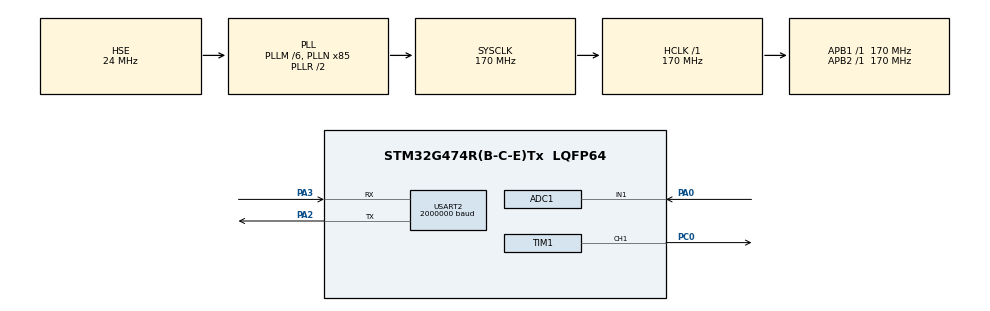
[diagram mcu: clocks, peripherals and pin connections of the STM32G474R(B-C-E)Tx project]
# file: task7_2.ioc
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ADC1.Channel-0\#ChannelRegularConversion=ADC_CHANNEL_1
ADC1.ClockPrescaler=ADC_CLOCK_ASYNC_DIV1
ADC1.DMAContinuousRequests=ENABLE
ADC1.ExternalTrigConv=ADC_EXTERNALTRIG_T3_TRGO
ADC1.NbrOfConversionFlag=1
ADC1.OffsetNumber-0\#ChannelRegularConversion=ADC_OFFSET_NONE
ADC1.Rank-0\#ChannelRegularConversion=1
ADC1.SamplingTime-0\#ChannelRegularConversion=ADC_SAMPLETIME_2CYCLES_5
ADC1.master=1
Dma.ADC1.0.Direction=DMA_PERIPH_TO_MEMORY
Dma.ADC1.0.EventEnable=DISABLE
Dma.ADC1.0.Instance=DMA1_Channel1
Dma.ADC1.0.MemDataAlignment=DMA_MDATAALIGN_HALFWORD
Dma.ADC1.0.MemInc=DMA_MINC_ENABLE
Dma.ADC1.0.Mode=DMA_CIRCULAR
Dma.ADC1.0.PeriphDataAlignment=DMA_PDATAALIGN_HALFWORD
Dma.ADC1.0.PeriphInc=DMA_PINC_DISABLE
Dma.ADC1.0.Polarity=HAL_DMAMUX_REQ_GEN_RISING
Dma.ADC1.0.Priority=DMA_PRIORITY_LOW
Dma.ADC1.0.RequestNumber=1
Dma.ADC1.0.SignalID=NONE
Dma.ADC1.0.SyncEnable=DISABLE
Dma.ADC1.0.SyncPolarity=HAL_DMAMUX_SYNC_NO_EVENT
Dma.ADC1.0.SyncRequestNumber=1
Dma.ADC1.0.SyncSignalID=NONE
Dma.Request0=ADC1
Mcu.Family=STM32G4
Mcu.Name=STM32G474R(B-C-E)Tx
Mcu.Package=LQFP64
NVIC.DMA1_Channel1_IRQn=true\:0\:0\:false\:false\:true\:false\:true\:true
NVIC.PriorityGroup=NVIC_PRIORITYGROUP_4
NVIC.TIM2_IRQn=true\:0\:0\:false\:false\:true\:true\:true\:true
PA0.Mode=IN1-Single-Ended
PA0.Signal=ADC1_IN1
PA13.Mode=Serial_Wire
PA13.Signal=SYS_JTMS-SWDIO
PA14.Mode=Serial_Wire
PA14.Signal=SYS_JTCK-SWCLK
PA2.GPIO_PuPd=GPIO_PULLUP
PA2.Mode=Asynchronous
PA2.Signal=USART2_TX
PA3.GPIO_PuPd=GPIO_PULLUP
PA3.Mode=Asynchronous
PA3.Signal=USART2_RX
PC0.Signal=S_TIM1_CH1
PF0-OSC_IN.Mode=HSE-External-Oscillator
PF0-OSC_IN.Signal=RCC_OSC_IN
PF1-OSC_OUT.Mode=HSE-External-Oscillator
PF1-OSC_OUT.Signal=RCC_OSC_OUT
ProjectManager.HeapSize=0x200
ProjectManager.StackSize=0x400
ProjectManager.TargetToolchain=STM32CubeIDE
RCC.ADC12CLockSelection=RCC_ADC12CLKSOURCE_PLL
RCC.ADC12Freq_Value=34000000
RCC.ADC345Freq_Value=170000000
RCC.AHBFreq_Value=170000000
RCC.APB1Freq_Value=170000000
RCC.APB1TimFreq_Value=170000000
RCC.APB2Freq_Value=170000000
RCC.APB2TimFreq_Value=170000000
RCC.CortexFreq_Value=170000000
RCC.EXTERNAL_CLOCK_VALUE=12288000
RCC.HCLKFreq_Value=170000000
RCC.HSE_VALUE=24000000
RCC.HSI48_VALUE=48000000
RCC.HSI_VALUE=16000000
RCC.LSE_VALUE=32768
RCC.PLLM=RCC_PLLM_DIV6
RCC.PLLN=85
RCC.PLLP=RCC_PLLP_DIV10
RCC.PLLSourceVirtual=RCC_PLLSOURCE_HSE
RCC.SYSCLKFreq_VALUE=170000000
RCC.SYSCLKSource=RCC_SYSCLKSOURCE_PLLCLK
RCC.USBFreq_Value=170000000
RCC.VCOOutputFreq_Value=340000000
SH.S_TIM1_CH1.0=TIM1_CH1,PWM Generation1 CH1
TIM1.Channel-PWM\ Generation1\ CH1=TIM_CHANNEL_1
TIM1.PeriodNoDither=999
TIM1.Prescaler=169
TIM1.PulseNoDither_1=999
TIM2.PeriodNoDither=9
TIM2.Prescaler=169
TIM3.PeriodNoDither=19
TIM3.Prescaler=169
TIM3.TIM_MasterOutputTrigger=TIM_TRGO_UPDATE
USART2.BaudRate=2000000
USART2.VirtualMode-Asynchronous=VM_ASYNC
VP_SYS_VS_DBSignals.Mode=DisableDeadBatterySignals
VP_TIM1_VS_ClockSourceINT.Mode=Internal
VP_TIM2_VS_ClockSourceINT.Mode=Internal
VP_TIM3_VS_ClockSourceINT.Mode=Internal
board=custom

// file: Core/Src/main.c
/* USER CODE BEGIN Header */
/**
  ******************************************************************************
  * @file           : main.c
  * @brief          : Main program body
  ******************************************************************************
  * @attention
  *
  * Copyright (c) 2024 STMicroelectronics.
  * All rights reserved.
  *
  * This software is licensed under terms that can be found in the LICENSE file
  * in the root directory of this software component.
  * If no LICENSE file comes with this software, it is provided AS-IS.
  *
  ******************************************************************************
  */
/* USER CODE END Header */
#include "main.h"

 ADC_HandleTypeDef hadc1;
DMA_HandleTypeDef hdma_adc1;

TIM_HandleTypeDef htim1;
TIM_HandleTypeDef htim2;
TIM_HandleTypeDef htim3;

UART_HandleTypeDef huart2;

/* USER CODE BEGIN PV */
uint16_t ADC1ConvertedData[LEN] = {0};
uint16_t count = 0;
/* USER CODE END PV */

void SystemClock_Config(void);
static void MX_GPIO_Init(void);
static void MX_DMA_Init(void);
static void MX_ADC1_Init(void);
static void MX_USART2_UART_Init(void);
static void MX_TIM3_Init(void);
static void MX_TIM1_Init(void);
static void MX_TIM2_Init(void);

int main(void)
{

  /* MCU Configuration--------------------------------------------------------*/

  /* Reset of all peripherals, Initializes the Flash interface and the Systick. */
  HAL_Init();

  /* Configure the system clock */
  SystemClock_Config();

  /* Initialize all configured peripherals */
  MX_GPIO_Init();
  MX_DMA_Init();
  MX_ADC1_Init();
  MX_USART2_UART_Init();
  MX_TIM3_Init();
  MX_TIM1_Init();
  MX_TIM2_Init();
  /* USER CODE BEGIN 2 */
  HAL_ADCEx_Calibration_Start(&hadc1, ADC_SINGLE_ENDED);
  HAL_ADC_Start_DMA(&hadc1, (uint32_t*)&ADC1ConvertedData, LEN);

  HAL_TIM_Base_Start(&htim3);
  HAL_TIM_Base_Start_IT(&htim2);
  HAL_TIM_Base_Start(&htim1);
  HAL_TIM_PWM_Start(&htim1, TIM_CHANNEL_1);
  /* USER CODE END 2 */

  /* Infinite loop */
  while (1)
  {

  }
}

void SystemClock_Config(void)
{
  RCC_OscInitTypeDef RCC_OscInitStruct = {0};
  RCC_ClkInitTypeDef RCC_ClkInitStruct = {0};

  /** Configure the main internal regulator output voltage
  */
  HAL_PWREx_ControlVoltageScaling(PWR_REGULATOR_VOLTAGE_SCALE1_BOOST);

  /** Initializes the RCC Oscillators according to the specified parameters
  * in the RCC_OscInitTypeDef structure.
  */
  RCC_OscInitStruct.OscillatorType = RCC_OSCILLATORTYPE_HSE;
  RCC_OscInitStruct.HSEState = RCC_HSE_ON;
  RCC_OscInitStruct.PLL.PLLState = RCC_PLL_ON;
  RCC_OscInitStruct.PLL.PLLSource = RCC_PLLSOURCE_HSE;
  RCC_OscInitStruct.PLL.PLLM = RCC_PLLM_DIV6;
  RCC_OscInitStruct.PLL.PLLN = 85;
  RCC_OscInitStruct.PLL.PLLP = RCC_PLLP_DIV10;
  RCC_OscInitStruct.PLL.PLLQ = RCC_PLLQ_DIV2;
  RCC_OscInitStruct.PLL.PLLR = RCC_PLLR_DIV2;
  if (HAL_RCC_OscConfig(&RCC_OscInitStruct) != HAL_OK)
  {
    Error_Handler();
  }

  /** Initializes the CPU, AHB and APB buses clocks
  */
  RCC_ClkInitStruct.ClockType = RCC_CLOCKTYPE_HCLK|RCC_CLOCKTYPE_SYSCLK
                              |RCC_CLOCKTYPE_PCLK1|RCC_CLOCKTYPE_PCLK2;
  RCC_ClkInitStruct.SYSCLKSource = RCC_SYSCLKSOURCE_PLLCLK;
  RCC_ClkInitStruct.AHBCLKDivider = RCC_SYSCLK_DIV1;
  RCC_ClkInitStruct.APB1CLKDivider = RCC_HCLK_DIV1;
  RCC_ClkInitStruct.APB2CLKDivider = RCC_HCLK_DIV1;

  if (HAL_RCC_ClockConfig(&RCC_ClkInitStruct, FLASH_LATENCY_4) != HAL_OK)
  {
    Error_Handler();
  }
}

static void MX_ADC1_Init(void)
{

  ADC_MultiModeTypeDef multimode = {0};
  ADC_ChannelConfTypeDef sConfig = {0};

  /** Common config
  */
  hadc1.Instance = ADC1;
  hadc1.Init.ClockPrescaler = ADC_CLOCK_ASYNC_DIV1;
  hadc1.Init.Resolution = ADC_RESOLUTION_12B;
  hadc1.Init.DataAlign = ADC_DATAALIGN_RIGHT;
  hadc1.Init.GainCompensation = 0;
  hadc1.Init.ScanConvMode = ADC_SCAN_DISABLE;
  hadc1.Init.EOCSelection = ADC_EOC_SINGLE_CONV;
  hadc1.Init.LowPowerAutoWait = DISABLE;
  hadc1.Init.ContinuousConvMode = DISABLE;
  hadc1.Init.NbrOfConversion = 1;
  hadc1.Init.DiscontinuousConvMode = DISABLE;
  hadc1.Init.ExternalTrigConv = ADC_EXTERNALTRIG_T3_TRGO;
  hadc1.Init.ExternalTrigConvEdge = ADC_EXTERNALTRIGCONVEDGE_RISING;
  hadc1.Init.DMAContinuousRequests = ENABLE;
  hadc1.Init.Overrun = ADC_OVR_DATA_PRESERVED;
  hadc1.Init.OversamplingMode = DISABLE;
  if (HAL_ADC_Init(&hadc1) != HAL_OK)
  {
    Error_Handler();
  }

  /** Configure the ADC multi-mode
  */
  multimode.Mode = ADC_MODE_INDEPENDENT;
  if (HAL_ADCEx_MultiModeConfigChannel(&hadc1, &multimode) != HAL_OK)
  {
    Error_Handler();
  }

  /** Configure Regular Channel
  */
  sConfig.Channel = ADC_CHANNEL_1;
  sConfig.Rank = ADC_REGULAR_RANK_1;
  sConfig.SamplingTime = ADC_SAMPLETIME_2CYCLES_5;
  sConfig.SingleDiff = ADC_SINGLE_ENDED;
  sConfig.OffsetNumber = ADC_OFFSET_NONE;
  sConfig.Offset = 0;
  if (HAL_ADC_ConfigChannel(&hadc1, &sConfig) != HAL_OK)
  {
    Error_Handler();
  }

}

static void MX_TIM1_Init(void)
{

  TIM_ClockConfigTypeDef sClockSourceConfig = {0};
  TIM_MasterConfigTypeDef sMasterConfig = {0};
  TIM_OC_InitTypeDef sConfigOC = {0};
  TIM_BreakDeadTimeConfigTypeDef sBreakDeadTimeConfig = {0};

  htim1.Instance = TIM1;
  htim1.Init.Prescaler = 169;
  htim1.Init.CounterMode = TIM_COUNTERMODE_UP;
  htim1.Init.Period = 999;
  htim1.Init.ClockDivision = TIM_CLOCKDIVISION_DIV1;
  htim1.Init.RepetitionCounter = 0;
  htim1.Init.AutoReloadPreload = TIM_AUTORELOAD_PRELOAD_DISABLE;
  if (HAL_TIM_Base_Init(&htim1) != HAL_OK)
  {
    Error_Handler();
  }
  sClockSourceConfig.ClockSource = TIM_CLOCKSOURCE_INTERNAL;
  if (HAL_TIM_ConfigClockSource(&htim1, &sClockSourceConfig) != HAL_OK)
  {
    Error_Handler();
  }
  if (HAL_TIM_PWM_Init(&htim1) != HAL_OK)
  {
    Error_Handler();
  }
  sMasterConfig.MasterOutputTrigger = TIM_TRGO_RESET;
  sMasterConfig.MasterOutputTrigger2 = TIM_TRGO2_RESET;
  sMasterConfig.MasterSlaveMode = TIM_MASTERSLAVEMODE_DISABLE;
  if (HAL_TIMEx_MasterConfigSynchronization(&htim1, &sMasterConfig) != HAL_OK)
  {
    Error_Handler();
  }
  sConfigOC.OCMode = TIM_OCMODE_PWM1;
  sConfigOC.Pulse = 999;
  sConfigOC.OCPolarity = TIM_OCPOLARITY_HIGH;
  sConfigOC.OCNPolarity = TIM_OCNPOLARITY_HIGH;
  sConfigOC.OCFastMode = TIM_OCFAST_DISABLE;
  sConfigOC.OCIdleState = TIM_OCIDLESTATE_RESET;
  sConfigOC.OCNIdleState = TIM_OCNIDLESTATE_RESET;
  if (HAL_TIM_PWM_ConfigChannel(&htim1, &sConfigOC, TIM_CHANNEL_1) != HAL_OK)
  {
    Error_Handler();
  }
  sBreakDeadTimeConfig.OffStateRunMode = TIM_OSSR_DISABLE;
  sBreakDeadTimeConfig.OffStateIDLEMode = TIM_OSSI_DISABLE;
  sBreakDeadTimeConfig.LockLevel = TIM_LOCKLEVEL_OFF;
  sBreakDeadTimeConfig.DeadTime = 0;
  sBreakDeadTimeConfig.BreakState = TIM_BREAK_DISABLE;
  sBreakDeadTimeConfig.BreakPolarity = TIM_BREAKPOLARITY_HIGH;
  sBreakDeadTimeConfig.BreakFilter = 0;
  sBreakDeadTimeConfig.BreakAFMode = TIM_BREAK_AFMODE_INPUT;
  sBreakDeadTimeConfig.Break2State = TIM_BREAK2_DISABLE;
  sBreakDeadTimeConfig.Break2Polarity = TIM_BREAK2POLARITY_HIGH;
  sBreakDeadTimeConfig.Break2Filter = 0;
  sBreakDeadTimeConfig.Break2AFMode = TIM_BREAK_AFMODE_INPUT;
  sBreakDeadTimeConfig.AutomaticOutput = TIM_AUTOMATICOUTPUT_DISABLE;
  if (HAL_TIMEx_ConfigBreakDeadTime(&htim1, &sBreakDeadTimeConfig) != HAL_OK)
  {
    Error_Handler();
  }
  HAL_TIM_MspPostInit(&htim1);

}

static void MX_TIM2_Init(void)
{

  TIM_ClockConfigTypeDef sClockSourceConfig = {0};
  TIM_MasterConfigTypeDef sMasterConfig = {0};

  htim2.Instance = TIM2;
  htim2.Init.Prescaler = 169;
  htim2.Init.CounterMode = TIM_COUNTERMODE_UP;
  htim2.Init.Period = 9;
  htim2.Init.ClockDivision = TIM_CLOCKDIVISION_DIV1;
  htim2.Init.AutoReloadPreload = TIM_AUTORELOAD_PRELOAD_DISABLE;
  if (HAL_TIM_Base_Init(&htim2) != HAL_OK)
  {
    Error_Handler();
  }
  sClockSourceConfig.ClockSource = TIM_CLOCKSOURCE_INTERNAL;
  if (HAL_TIM_ConfigClockSource(&htim2, &sClockSourceConfig) != HAL_OK)
  {
    Error_Handler();
  }
  sMasterConfig.MasterOutputTrigger = TIM_TRGO_RESET;
  sMasterConfig.MasterSlaveMode = TIM_MASTERSLAVEMODE_DISABLE;
  if (HAL_TIMEx_MasterConfigSynchronization(&htim2, &sMasterConfig) != HAL_OK)
  {
    Error_Handler();
  }

}

static void MX_TIM3_Init(void)
{

  TIM_ClockConfigTypeDef sClockSourceConfig = {0};
  TIM_MasterConfigTypeDef sMasterConfig = {0};

  htim3.Instance = TIM3;
  htim3.Init.Prescaler = 169;
  htim3.Init.CounterMode = TIM_COUNTERMODE_UP;
  htim3.Init.Period = 19;
  htim3.Init.ClockDivision = TIM_CLOCKDIVISION_DIV1;
  htim3.Init.AutoReloadPreload = TIM_AUTORELOAD_PRELOAD_DISABLE;
  if (HAL_TIM_Base_Init(&htim3) != HAL_OK)
  {
    Error_Handler();
  }
  sClockSourceConfig.ClockSource = TIM_CLOCKSOURCE_INTERNAL;
  if (HAL_TIM_ConfigClockSource(&htim3, &sClockSourceConfig) != HAL_OK)
  {
    Error_Handler();
  }
  sMasterConfig.MasterOutputTrigger = TIM_TRGO_UPDATE;
  sMasterConfig.MasterSlaveMode = TIM_MASTERSLAVEMODE_DISABLE;
  if (HAL_TIMEx_MasterConfigSynchronization(&htim3, &sMasterConfig) != HAL_OK)
  {
    Error_Handler();
  }

}

static void MX_USART2_UART_Init(void)
{

  huart2.Instance = USART2;
  huart2.Init.BaudRate = 2000000;
  huart2.Init.WordLength = UART_WORDLENGTH_8B;
  huart2.Init.StopBits = UART_STOPBITS_1;
  huart2.Init.Parity = UART_PARITY_NONE;
  huart2.Init.Mode = UART_MODE_TX_RX;
  huart2.Init.HwFlowCtl = UART_HWCONTROL_NONE;
  huart2.Init.OverSampling = UART_OVERSAMPLING_16;
  huart2.Init.OneBitSampling = UART_ONE_BIT_SAMPLE_DISABLE;
  huart2.Init.ClockPrescaler = UART_PRESCALER_DIV1;
  huart2.AdvancedInit.AdvFeatureInit = UART_ADVFEATURE_NO_INIT;
  if (HAL_UART_Init(&huart2) != HAL_OK)
  {
    Error_Handler();
  }
  if (HAL_UARTEx_SetTxFifoThreshold(&huart2, UART_TXFIFO_THRESHOLD_1_8) != HAL_OK)
  {
    Error_Handler();
  }
  if (HAL_UARTEx_SetRxFifoThreshold(&huart2, UART_RXFIFO_THRESHOLD_1_8) != HAL_OK)
  {
    Error_Handler();
  }
  if (HAL_UARTEx_DisableFifoMode(&huart2) != HAL_OK)
  {
    Error_Handler();
  }

}

static void MX_DMA_Init(void)
{

  /* DMA controller clock enable */
  __HAL_RCC_DMAMUX1_CLK_ENABLE();
  __HAL_RCC_DMA1_CLK_ENABLE();

  /* DMA interrupt init */
  /* DMA1_Channel1_IRQn interrupt configuration */
  HAL_NVIC_SetPriority(DMA1_Channel1_IRQn, 0, 0);
  HAL_NVIC_EnableIRQ(DMA1_Channel1_IRQn);

}

static void MX_GPIO_Init(void)
{

  /* GPIO Ports Clock Enable */
  __HAL_RCC_GPIOF_CLK_ENABLE();
  __HAL_RCC_GPIOC_CLK_ENABLE();
  __HAL_RCC_GPIOA_CLK_ENABLE();

}

/* USER CODE BEGIN 4 */
void HAL_ADC_ConvCpltCallback(ADC_HandleTypeDef *hadc)
{
	HAL_UART_Transmit(&huart2, (uint8_t *)&ADC1ConvertedData, LEN*2, 0xFFFF);
}

void HAL_TIM_PeriodElapsedCallback(TIM_HandleTypeDef*htim)
{
	if(count == 1000){
		HAL_TIM_PWM_Start(&htim1, TIM_CHANNEL_1);
		count = 0;
	}
	else{
		count++;
		if(count == 200){ // t1=100
			HAL_TIM_PWM_Stop(&htim1, TIM_CHANNEL_1);
		}
		if(count == 300){ // t2=200
			HAL_TIM_PWM_Start(&htim1, TIM_CHANNEL_1);
		}
		if(count == 400){ // t3=100
			HAL_TIM_PWM_Stop(&htim1, TIM_CHANNEL_1);
		}
	}
}
/* USER CODE END 4 */

void Error_Handler(void)
{
  __disable_irq();
  while (1)
  {
  }
}
